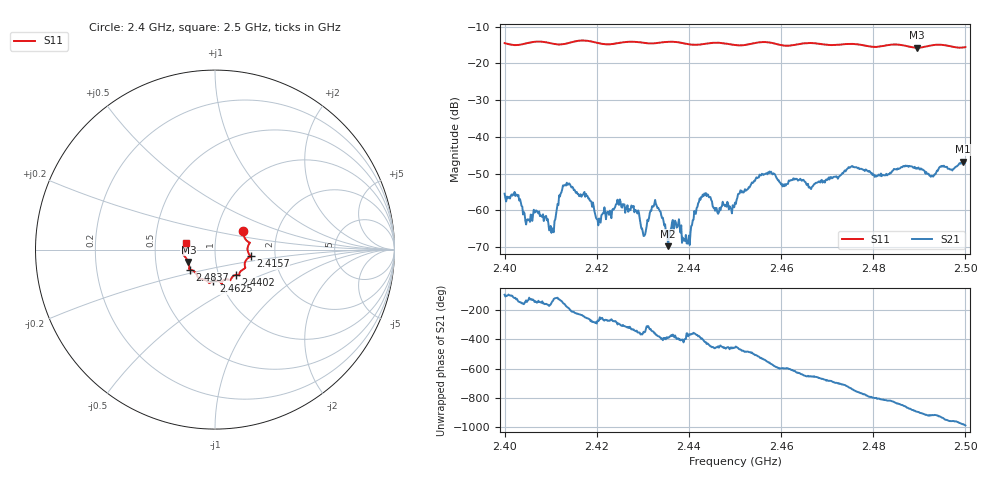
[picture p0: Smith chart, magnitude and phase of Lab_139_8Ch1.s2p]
# Hz S RI R 50
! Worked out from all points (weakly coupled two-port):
!   601 points, 2.4 GHz to 2.5 GHz, reference 50 ohm
!   highest |S21| = -46.73 dB at 2.4995 GHz (marker M1); lowest = -69.8 dB at 2.4355 GHz (marker M2)
!   lowest |S11| = -15.7 dB at 2.4895 GHz (marker M3), VSWR 1.39, Z = 36.8 - j5.16 ohm
!   |S11| at or under -10 dB: start of sweep to end of sweep
!   S12 and S22 are empty: the file has one direction only
!   S11 on the Smith chart (normalised r, x): 2.4 GHz: 1.34, +0.29; 2.4157 GHz: 1.49, -0.11; 2.4402 GHz: 1.20, -0.35; 2.4625 GHz: 0.92, -0.34; 2.4837 GHz: 0.74, -0.17; 2.5 GHz: 0.72, +0.05
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2.4e9  0.1567 0.1053  -0.000187 -0.00167  0 0  0 0
2.410167e9  0.1856 0.0235  -0.000432 -0.000237  0 0  0 0
2.413e9  0.1834 -0.0122  -0.00204 -0.000784  0 0  0 0
2.415667e9  0.1983 -0.0365  -0.00123 0.00127  0 0  0 0
2.416667e9  0.2011 -0.0397  -0.000883 0.00125  0 0  0 0
2.420333e9  0.1828 -0.0481  4.91e-05 0.000622  0 0  0 0
2.428e9  0.1677 -0.1031  0.00102 0.000521  0 0  0 0
2.430167e9  0.1544 -0.1121  0.000436 8.99e-05  0 0  0 0
2.433333e9  0.1358 -0.1335  0.00103 -0.000348  0 0  0 0
2.4355e9  0.1346 -0.1433  0.00029 -0.000147  0 0  0 0
2.440167e9  0.1146 -0.1407  0.000335 -2.88e-05  0 0  0 0
2.443167e9  0.092 -0.1588  0.00107 -0.00112  0 0  0 0
2.45e9  0.0638 -0.1661  -0.000136 -0.00126  0 0  0 0
2.455833e9  0.0383 -0.1911  -0.00311 -0.00043  0 0  0 0
2.4625e9  -0.01 -0.1765  -0.000935 0.00243  0 0  0 0
2.466667e9  -0.0332 -0.1863  0.00083 0.0019  0 0  0 0
2.475167e9  -0.0901 -0.1607  0.00379 -0.000923  0 0  0 0
2.483333e9  -0.1382 -0.1123  -0.000426 -0.00308  0 0  0 0
2.483667e9  -0.1402 -0.1118  -0.000415 -0.00322  0 0  0 0
2.4895e9  -0.1484 -0.0683  -0.00365 -0.000449  0 0  0 0
2.4995e9  -0.1624 0.0281  -0.00097 0.00451  0 0  0 0
2.5e9  -0.1627 0.0361  -0.000261 0.00458  0 0  0 0
